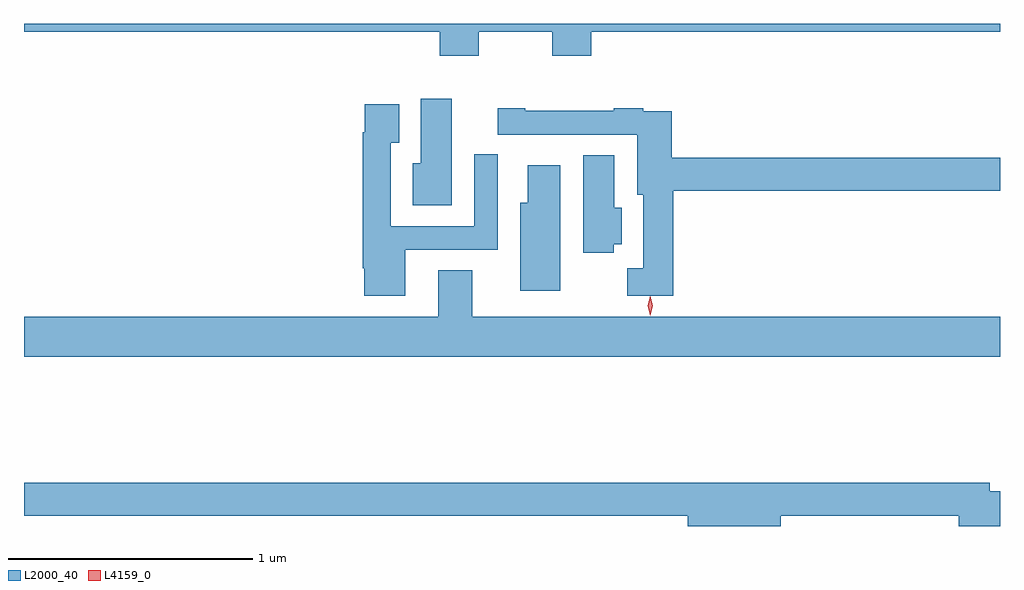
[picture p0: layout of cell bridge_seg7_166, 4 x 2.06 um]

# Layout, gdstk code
import gdstk
lib = gdstk.Library(unit=1e-6, precision=1e-09)
def P(c, l, *ps):  # polygons
    for p in ps: c.add(gdstk.Polygon(p, *l))
L2000_40 = (2000, 40)
L4159_0 = (4159, 0)

bridge_seg7_166 = lib.new_cell('bridge_seg7_166')
P(bridge_seg7_166, L2000_40, [(457.971,1081.868),(458.272,1081.868),(458.272,1081.769),(458.432,1081.769),(458.432,1081.868),(460.107,1081.868),(460.107,1081.9),(456.107,1081.9),(456.107,1081.868),(457.811,1081.868),(457.811,1081.769),(457.971,1081.769)],
  [(457.861,1081.594),(457.733,1081.594),(457.733,1081.33),(457.7,1081.33),(457.7,1081.156),(457.861,1081.156)],
  [(457.669,1080.975),(458.049,1080.975),(458.049,1081.365),(457.953,1081.365),(457.953,1081.071),(457.611,1081.071),(457.611,1081.414),(457.645,1081.414),(457.645,1081.57),(457.503,1081.57),(457.503,1081.457),(457.495,1081.457),(457.495,1080.898),(457.502,1080.898),(457.502,1080.786),(457.669,1080.786)],
  [(458.767,1081.216),(460.107,1081.216),(460.107,1081.352),(458.762,1081.352),(458.762,1081.542),(458.645,1081.542),(458.645,1081.555),(458.525,1081.555),(458.525,1081.545),(458.161,1081.545),(458.161,1081.555),(458.049,1081.555),(458.049,1081.446),(458.621,1081.446),(458.621,1081.2),(458.645,1081.2),(458.645,1080.898),(458.58,1080.898),(458.58,1080.785),(458.767,1080.785)],
  [(458.524,1080.998),(458.557,1080.998),(458.557,1081.146),(458.527,1081.146),(458.527,1081.361),(458.399,1081.361),(458.399,1080.962),(458.524,1080.962)],
  [(458.305,1081.321),(458.171,1081.321),(458.171,1081.168),(458.141,1081.168),(458.141,1080.806),(458.305,1080.806)],
  [(460.107,1080.7),(457.945,1080.7),(457.945,1080.89),(457.805,1080.89),(457.805,1080.7),(456.107,1080.7),(456.107,1080.536),(460.107,1080.536)],
  [(459.208,1079.884),(459.938,1079.884),(459.938,1079.842),(460.107,1079.842),(460.107,1079.984),(460.066,1079.984),(460.066,1080.02),(456.107,1080.02),(456.107,1079.884),(458.828,1079.884),(458.828,1079.842),(459.208,1079.842)])
P(bridge_seg7_166, L4159_0, [(458.673,1080.703),(458.673,1080.703),(458.663,1080.744),(458.673,1080.784),(458.673,1080.784),(458.673,1080.784),(458.683,1080.744),(458.673,1080.703)])

lib.write_gds('bridge_seg7_166.gds')
